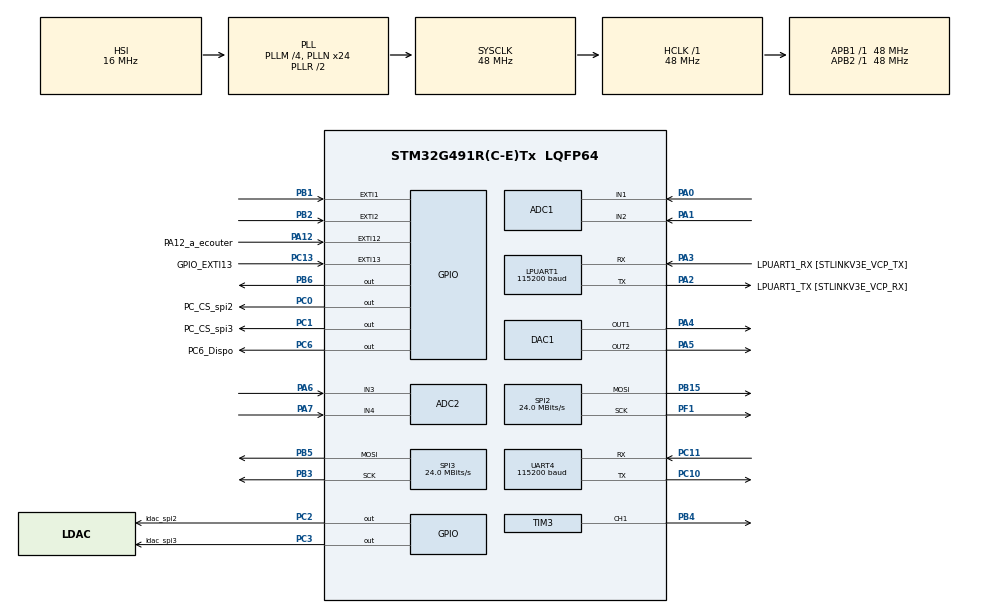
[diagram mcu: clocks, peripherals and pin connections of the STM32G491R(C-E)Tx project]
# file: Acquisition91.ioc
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ADC1.Channel-0\#ChannelRegularConversion=ADC_CHANNEL_1
ADC1.NbrOfConversionFlag=1
ADC1.OffsetNumber-0\#ChannelRegularConversion=ADC_OFFSET_NONE
ADC1.Rank-0\#ChannelRegularConversion=1
ADC1.SamplingTime-0\#ChannelRegularConversion=ADC_SAMPLETIME_2CYCLES_5
ADC1.master=1
ADC2.Channel-0\#ChannelRegularConversion=ADC_CHANNEL_3
ADC2.NbrOfConversionFlag=1
ADC2.OffsetNumber-0\#ChannelRegularConversion=ADC_OFFSET_NONE
ADC2.Rank-0\#ChannelRegularConversion=1
ADC2.SamplingTime-0\#ChannelRegularConversion=ADC_SAMPLETIME_2CYCLES_5
DAC1.DAC_Channel-DAC_OUT2=DAC_CHANNEL_2
DAC1.DAC_SampleAndHold-DAC_OUT1=DAC_SAMPLEANDHOLD_DISABLE
Dma.ADC1.0.Direction=DMA_PERIPH_TO_MEMORY
Dma.ADC1.0.EventEnable=DISABLE
Dma.ADC1.0.Instance=DMA1_Channel1
Dma.ADC1.0.MemDataAlignment=DMA_MDATAALIGN_HALFWORD
Dma.ADC1.0.MemInc=DMA_MINC_ENABLE
Dma.ADC1.0.Mode=DMA_NORMAL
Dma.ADC1.0.PeriphDataAlignment=DMA_PDATAALIGN_HALFWORD
Dma.ADC1.0.PeriphInc=DMA_PINC_DISABLE
Dma.ADC1.0.Polarity=HAL_DMAMUX_REQ_GEN_RISING
Dma.ADC1.0.Priority=DMA_PRIORITY_MEDIUM
Dma.ADC1.0.RequestNumber=1
Dma.ADC1.0.SignalID=NONE
Dma.ADC1.0.SyncEnable=DISABLE
Dma.ADC1.0.SyncPolarity=HAL_DMAMUX_SYNC_NO_EVENT
Dma.ADC1.0.SyncRequestNumber=1
Dma.ADC1.0.SyncSignalID=NONE
Dma.Request0=ADC1
Dma.Request1=UART4_RX
Dma.UART4_RX.1.Direction=DMA_PERIPH_TO_MEMORY
Dma.UART4_RX.1.EventEnable=DISABLE
Dma.UART4_RX.1.Instance=DMA1_Channel2
Dma.UART4_RX.1.MemDataAlignment=DMA_MDATAALIGN_WORD
Dma.UART4_RX.1.MemInc=DMA_MINC_ENABLE
Dma.UART4_RX.1.Mode=DMA_CIRCULAR
Dma.UART4_RX.1.PeriphDataAlignment=DMA_PDATAALIGN_BYTE
Dma.UART4_RX.1.PeriphInc=DMA_PINC_DISABLE
Dma.UART4_RX.1.Polarity=HAL_DMAMUX_REQ_GEN_RISING
Dma.UART4_RX.1.Priority=DMA_PRIORITY_VERY_HIGH
Dma.UART4_RX.1.RequestNumber=1
Dma.UART4_RX.1.SignalID=NONE
Dma.UART4_RX.1.SyncEnable=DISABLE
Dma.UART4_RX.1.SyncPolarity=HAL_DMAMUX_SYNC_NO_EVENT
Dma.UART4_RX.1.SyncRequestNumber=1
Dma.UART4_RX.1.SyncSignalID=NONE
LPUART1.BaudRate=115200
LPUART1.WordLength=UART_WORDLENGTH_8B
Mcu.Family=STM32G4
Mcu.Name=STM32G491R(C-E)Tx
Mcu.Package=LQFP64
NVIC.DMA1_Channel1_IRQn=true\:0\:0\:false\:false\:true\:false\:true\:true
NVIC.DMA1_Channel2_IRQn=true\:0\:0\:false\:false\:true\:false\:true\:true
NVIC.EXTI15_10_IRQn=true\:0\:0\:false\:false\:true\:true\:true\:true
NVIC.EXTI1_IRQn=true\:0\:0\:false\:false\:true\:true\:true\:true
NVIC.EXTI2_IRQn=true\:0\:0\:false\:false\:true\:true\:true\:true
NVIC.PriorityGroup=NVIC_PRIORITYGROUP_4
NVIC.UART4_IRQn=true\:0\:0\:false\:false\:true\:true\:true\:true
PA0.Mode=IN1-Single-Ended
PA0.Signal=ADC1_IN1
PA1.Mode=IN2-Single-Ended
PA1.Signal=ADC1_IN2
PA12.GPIO_Label=PA12_a_ecouter
PA12.GPIO_ModeDefaultEXTI=GPIO_MODE_IT_FALLING
PA12.GPIO_PuPd=GPIO_NOPULL
PA12.Signal=GPXTI12
PA13.GPIO_Label=T_SWDIO
PA13.Mode=Serial_Wire
PA13.Signal=SYS_JTMS-SWDIO
PA14.GPIO_Label=T_SWCLK
PA14.Mode=Serial_Wire
PA14.Signal=SYS_JTCK-SWCLK
PA2.GPIO_Label=LPUART1_TX [STLINKV3E_VCP_RX]
PA2.Mode=Asynchronous
PA2.Signal=LPUART1_TX
PA3.GPIO_Label=LPUART1_RX [STLINKV3E_VCP_TX]
PA3.Mode=Asynchronous
PA3.Signal=LPUART1_RX
PA4.Signal=COMP_DAC11_group
PA5.Signal=COMP_DAC12_group
PA6.Mode=IN3-Single-Ended
PA6.Signal=ADC2_IN3
PA7.Mode=IN4-Single-Ended
PA7.Signal=ADC2_IN4
PB1.Signal=GPXTI1
PB15.Mode=TX_Only_Simplex_Unidirect_Master
PB15.Signal=SPI2_MOSI
PB2.Signal=GPXTI2
PB3.Mode=TX_Only_Simplex_Unidirect_Master
PB3.Signal=SPI3_SCK
PB4.Signal=S_TIM3_CH1
PB5.Mode=TX_Only_Simplex_Unidirect_Master
PB5.Signal=SPI3_MOSI
PB6.Signal=GPIO_Output
PC0.GPIO_Label=PC_CS_spi2
PC0.Signal=GPIO_Output
PC1.GPIO_Label=PC_CS_spi3
PC1.Signal=GPIO_Output
PC10.Mode=Asynchronous
PC10.Signal=UART4_TX
PC11.Mode=Asynchronous
PC11.Signal=UART4_RX
PC13.GPIO_Label=GPIO_EXTI13
PC13.Signal=GPXTI13
PC14-OSC32_IN.Mode=LSE-External-Oscillator
PC14-OSC32_IN.Signal=RCC_OSC32_IN
PC15-OSC32_OUT.Mode=LSE-External-Oscillator
PC15-OSC32_OUT.Signal=RCC_OSC32_OUT
PC2.GPIO_Label=ldac_spi2
PC2.Signal=GPIO_Output
PC3.GPIO_Label=ldac_spi3
PC3.Signal=GPIO_Output
PC6.GPIO_Label=PC6_Dispo
PC6.Signal=GPIO_Output
PF1-OSC_OUT.Mode=TX_Only_Simplex_Unidirect_Master
PF1-OSC_OUT.Signal=SPI2_SCK
ProjectManager.HeapSize=0x200
ProjectManager.StackSize=0x400
ProjectManager.TargetToolchain=STM32CubeIDE
RCC.ADC12Freq_Value=48000000
RCC.ADC345Freq_Value=48000000
RCC.AHBFreq_Value=48000000
RCC.APB1Freq_Value=48000000
RCC.APB1TimFreq_Value=48000000
RCC.APB2Freq_Value=48000000
RCC.APB2TimFreq_Value=48000000
RCC.CortexFreq_Value=48000000
RCC.EXTERNAL_CLOCK_VALUE=12288000
RCC.HCLKFreq_Value=48000000
RCC.HSE_VALUE=24000000
RCC.HSI48_VALUE=48000000
RCC.HSI_VALUE=16000000
RCC.PLLM=RCC_PLLM_DIV4
RCC.PLLN=24
RCC.RTCClockSelection=RCC_RTCCLKSOURCE_LSE
RCC.SYSCLKFreq_VALUE=48000000
RCC.SYSCLKSource=RCC_SYSCLKSOURCE_PLLCLK
RCC.USBFreq_Value=48000000
RCC.VCOOutputFreq_Value=96000000
RTC.Month=RTC_MONTH_AUGUST
RTC.WeekDay=RTC_WEEKDAY_TUESDAY
RTC.Year=23
SH.COMP_DAC11_group.0=DAC1_OUT1,DAC_OUT1
SH.COMP_DAC12_group.0=DAC1_OUT2,DAC_OUT2
SH.S_TIM3_CH1.0=TIM3_CH1,PWM Generation1 CH1
SPI2.CalculateBaudRate=24.0 MBits/s
SPI2.Direction=SPI_DIRECTION_2LINES
SPI2.Mode=SPI_MODE_MASTER
SPI2.VirtualType=VM_MASTER
SPI3.CalculateBaudRate=24.0 MBits/s
SPI3.Direction=SPI_DIRECTION_2LINES
SPI3.Mode=SPI_MODE_MASTER
SPI3.VirtualType=VM_MASTER
TIM3.AutoReloadPreload=TIM_AUTORELOAD_PRELOAD_ENABLE
TIM3.Channel-PWM\ Generation1\ CH1=TIM_CHANNEL_1
TIM3.PeriodNoDither=255
TIM3.PulseNoDither_1=200
UART4.BaudRate=115200
UART4.DMADisableonRxErrorParam=UART_ADVFEATURE_DMA_DISABLEONRXERROR
UART4.FIFOMode=FIFOMODE_ENABLE
UART4.OneBitSampling=UART_ONE_BIT_SAMPLE_ENABLE
UART4.OverSampling=UART_OVERSAMPLING_8
UART4.OverrunDisableParam=UART_ADVFEATURE_OVERRUN_ENABLE
UART4.Parity=PARITY_NONE
UART4.TXFIFOThreshold=TXFIFO_THRESHOLD_1EIGHTHFULL
UART4.WordLength=WORDLENGTH_8B
VP_RTC_VS_RTC_Activate.Mode=RTC_Enabled
VP_RTC_VS_RTC_Calendar.Mode=RTC_Calendar
VP_SYS_VS_DBSignals.Mode=DisableDeadBatterySignals
VP_TIM3_VS_ClockSourceINT.Mode=Internal
board=NUCLEO-G491RE

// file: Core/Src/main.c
/* USER CODE BEGIN Header */
/**
  ******************************************************************************
  * @file           : main.c
  * @brief          : Main program body
  ******************************************************************************
  * @attention
  *
  * Copyright (c) 2023 STMicroelectronics.
  * All rights reserved.
  *
  * This software is licensed under terms that can be found in the LICENSE file
  * in the root directory of this software component.
  * If no LICENSE file comes with this software, it is provided AS-IS.
  *
  ******************************************************************************
  */
/* USER CODE END Header */
#include "main.h"

/* USER CODE BEGIN Includes */
#include <stdio.h>
#include "retarget.h"
/* USER CODE END Includes */

/* USER CODE BEGIN PTD */
#define ETAT_INIT 1
#define ETAT_HEURE 2
#define ETAT_MARCHE 3
#define ETAT_MAJ 4
#define buffer_size 14
#define buffer_sizetx 11
#define bool unsigned int
#define true 1
#define false 0
/* USER CODE END PTD */

ADC_HandleTypeDef hadc1;
ADC_HandleTypeDef hadc2;
DMA_HandleTypeDef hdma_adc1;

DAC_HandleTypeDef hdac1;

UART_HandleTypeDef hlpuart1;
UART_HandleTypeDef huart4;
DMA_HandleTypeDef hdma_uart4_rx;

RTC_HandleTypeDef hrtc;

SPI_HandleTypeDef hspi2;
SPI_HandleTypeDef hspi3;

TIM_HandleTypeDef htim3;

/* USER CODE BEGIN PV */
char etat;
uint8_t message[buffer_size]={'h','e','u','r','e','h','e','u'};
uint8_t messagetx[buffer_sizetx]={ 'O','K','_','h','e','u','r','e'};
int32_t i = 0;
uint8_t state2 = 0;
uint8_t state13 = 0;
char c;
bool msg_received = false;
/* USER CODE END PV */

void SystemClock_Config(void);
static void MX_GPIO_Init(void);
static void MX_DMA_Init(void);
static void MX_LPUART1_UART_Init(void);
static void MX_ADC1_Init(void);
static void MX_SPI2_Init(void);
static void MX_ADC2_Init(void);
static void MX_DAC1_Init(void);
static void MX_SPI3_Init(void);
static void MX_UART4_Init(void);
static void MX_RTC_Init(void);
static void MX_TIM3_Init(void);
/* USER CODE BEGIN PFP */
static void setSPIDACvalue(SPI_HandleTypeDef hspi, uint16_t command);
/* USER CODE END PFP */

int main(void)
{
  /* USER CODE BEGIN 1 */
	uint32_t value_adc = 0;
	uint16_t command[4]={0, 841, 2682, 4060};
	uint16_t DAC_OUT[4] = {0, 841, 1985, 4095};
	etat=ETAT_INIT;
	RTC_TimeTypeDef currTime = {0};

  /* USER CODE END 1 */

  /* MCU Configuration--------------------------------------------------------*/

  /* Reset of all peripherals, Initializes the Flash interface and the Systick. */
  HAL_Init();

  /* Configure the system clock */
  SystemClock_Config();

  /* Initialize all configured peripherals */
  MX_GPIO_Init();
  MX_DMA_Init();
  MX_LPUART1_UART_Init();
  MX_ADC1_Init();
  MX_SPI2_Init();
  MX_ADC2_Init();
  MX_DAC1_Init();
  MX_SPI3_Init();
  MX_UART4_Init();
  MX_RTC_Init();
  MX_TIM3_Init();
  /* USER CODE BEGIN 2 */
  RetargetInit(&hlpuart1);
  printf("\r\n");
  printf("!!!!!!!!!!!!!!!!!!!!!!!!!!!!!!!!!!!!!!!!!!!!!!!!!!!!!!!\r\n");
  printf("Service d'acquisition de la données pour calcul du TMP!\r\n");
  printf("SYSCLK = 48 MHz\r\n");
  printf("Crée par Quentin Lehérissé\r\n");
  printf("!!!!!!!!!!!!!!!!!!!!!!!!!!!!!!!!!!!!!!!!!!!!!!!!!!!!!!!\r\n");
  /* USER CODE END 2 */

  /* Infinite loop */
  /* USER CODE BEGIN WHILE */
  HAL_DAC_Start(&hdac1,DAC_CHANNEL_1);
  HAL_DAC_SetValue(&hdac1, DAC_CHANNEL_1, 0, 1200);
  HAL_DAC_Start(&hdac1,DAC_CHANNEL_2);
  HAL_TIM_PWM_Start(&htim3, TIM_CHANNEL_1);
  HAL_UART_Receive_IT(&huart4, message, 8);
  while (1)
  {

		  switch(etat){

		  case ETAT_INIT:
			  HAL_GPIO_WritePin(GPIOC, PC6_Dispo_Pin, 0);
			  HAL_Delay(100);
			  printf("fin_etat_init\r\n");
			  etat=ETAT_HEURE;
			  break;
		  case ETAT_HEURE:

			  HAL_GPIO_WritePin(GPIOC, PC6_Dispo_Pin, 1);

			  if(msg_received)
			  {

				  printf("\r\n");
				  for(i=0;i<buffer_size;i++)
				  	{
				  		c=message[i];
				  		printf("%c",c);
				  	}
				  unsigned int a=(message[0]-48)*10;
				  unsigned int b=message[1]-48;
				  unsigned int Hour =a+b;
				  a=(message[3]-48)*10;
				  b=message[4]-48;
				  unsigned int Minutes = a+b;
				  a=(message[6]-48)*10;
				  b=message[7]-48;
				  unsigned int Seconds =a+b;
				  currTime.Hours= Hour;
				  currTime.Minutes=Minutes;
				  currTime.Seconds=Seconds;
				  HAL_RTC_SetTime(&hrtc, &currTime, RTC_FORMAT_BIN);
				  HAL_Delay(50);
				  HAL_RTC_GetTime(&hrtc, &currTime, RTC_FORMAT_BIN);
				  printf("\r\n reçu: %d:%d:%d", currTime.Hours, currTime.Minutes, currTime.Seconds);
				  HAL_UART_Transmit(&huart4, &messagetx, buffer_sizetx, HAL_MAX_DELAY);
				  printf("\r\nfin_etat_heure\r\n");
			  	  etat=ETAT_MARCHE;
				  msg_received=0;
			  }

		  	  break;
		  case ETAT_MARCHE:

			  if (state13){
				  HAL_GPIO_WritePin(GPIOC, PC6_Dispo_Pin, 0);
				  /// prend des valeurs de la sonde, fonction it du codeur à agrémenter de la prise de valeur de réflectence.
			  }
			  else{
				  HAL_GPIO_WritePin(GPIOC, PC6_Dispo_Pin, 1);
			  }
			  break;

		  case ETAT_MAJ:
			  break;

		  default:
			  HAL_Delay(1000);
			  printf("No_state_error!\r\n");
			  printf("Go to etat_Init!\r\n");
			  etat=ETAT_INIT;
		  }
    /* USER CODE END WHILE */

  }
}

void SystemClock_Config(void)
{
  RCC_OscInitTypeDef RCC_OscInitStruct = {0};
  RCC_ClkInitTypeDef RCC_ClkInitStruct = {0};

  /** Configure the main internal regulator output voltage
  */
  HAL_PWREx_ControlVoltageScaling(PWR_REGULATOR_VOLTAGE_SCALE1);

  /** Configure LSE Drive Capability
  */
  HAL_PWR_EnableBkUpAccess();
  __HAL_RCC_LSEDRIVE_CONFIG(RCC_LSEDRIVE_LOW);

  /** Initializes the RCC Oscillators according to the specified parameters
  * in the RCC_OscInitTypeDef structure.
  */
  RCC_OscInitStruct.OscillatorType = RCC_OSCILLATORTYPE_HSI|RCC_OSCILLATORTYPE_LSE;
  RCC_OscInitStruct.LSEState = RCC_LSE_ON;
  RCC_OscInitStruct.HSIState = RCC_HSI_ON;
  RCC_OscInitStruct.HSICalibrationValue = RCC_HSICALIBRATION_DEFAULT;
  RCC_OscInitStruct.PLL.PLLState = RCC_PLL_ON;
  RCC_OscInitStruct.PLL.PLLSource = RCC_PLLSOURCE_HSI;
  RCC_OscInitStruct.PLL.PLLM = RCC_PLLM_DIV4;
  RCC_OscInitStruct.PLL.PLLN = 24;
  RCC_OscInitStruct.PLL.PLLP = RCC_PLLP_DIV2;
  RCC_OscInitStruct.PLL.PLLQ = RCC_PLLQ_DIV2;
  RCC_OscInitStruct.PLL.PLLR = RCC_PLLR_DIV2;
  if (HAL_RCC_OscConfig(&RCC_OscInitStruct) != HAL_OK)
  {
    Error_Handler();
  }

  /** Initializes the CPU, AHB and APB buses clocks
  */
  RCC_ClkInitStruct.ClockType = RCC_CLOCKTYPE_HCLK|RCC_CLOCKTYPE_SYSCLK
                              |RCC_CLOCKTYPE_PCLK1|RCC_CLOCKTYPE_PCLK2;
  RCC_ClkInitStruct.SYSCLKSource = RCC_SYSCLKSOURCE_PLLCLK;
  RCC_ClkInitStruct.AHBCLKDivider = RCC_SYSCLK_DIV1;
  RCC_ClkInitStruct.APB1CLKDivider = RCC_HCLK_DIV1;
  RCC_ClkInitStruct.APB2CLKDivider = RCC_HCLK_DIV1;

  if (HAL_RCC_ClockConfig(&RCC_ClkInitStruct, FLASH_LATENCY_1) != HAL_OK)
  {
    Error_Handler();
  }
}

static void MX_ADC1_Init(void)
{

  ADC_MultiModeTypeDef multimode = {0};
  ADC_ChannelConfTypeDef sConfig = {0};

  /** Common config
  */
  hadc1.Instance = ADC1;
  hadc1.Init.ClockPrescaler = ADC_CLOCK_SYNC_PCLK_DIV2;
  hadc1.Init.Resolution = ADC_RESOLUTION_12B;
  hadc1.Init.DataAlign = ADC_DATAALIGN_RIGHT;
  hadc1.Init.GainCompensation = 0;
  hadc1.Init.ScanConvMode = ADC_SCAN_DISABLE;
  hadc1.Init.EOCSelection = ADC_EOC_SINGLE_CONV;
  hadc1.Init.LowPowerAutoWait = DISABLE;
  hadc1.Init.ContinuousConvMode = DISABLE;
  hadc1.Init.NbrOfConversion = 1;
  hadc1.Init.DiscontinuousConvMode = DISABLE;
  hadc1.Init.ExternalTrigConv = ADC_SOFTWARE_START;
  hadc1.Init.ExternalTrigConvEdge = ADC_EXTERNALTRIGCONVEDGE_NONE;
  hadc1.Init.DMAContinuousRequests = DISABLE;
  hadc1.Init.Overrun = ADC_OVR_DATA_PRESERVED;
  hadc1.Init.OversamplingMode = DISABLE;
  if (HAL_ADC_Init(&hadc1) != HAL_OK)
  {
    Error_Handler();
  }

  /** Configure the ADC multi-mode
  */
  multimode.Mode = ADC_MODE_INDEPENDENT;
  if (HAL_ADCEx_MultiModeConfigChannel(&hadc1, &multimode) != HAL_OK)
  {
    Error_Handler();
  }

  /** Configure Regular Channel
  */
  sConfig.Channel = ADC_CHANNEL_1;
  sConfig.Rank = ADC_REGULAR_RANK_1;
  sConfig.SamplingTime = ADC_SAMPLETIME_2CYCLES_5;
  sConfig.SingleDiff = ADC_SINGLE_ENDED;
  sConfig.OffsetNumber = ADC_OFFSET_NONE;
  sConfig.Offset = 0;
  if (HAL_ADC_ConfigChannel(&hadc1, &sConfig) != HAL_OK)
  {
    Error_Handler();
  }

}

static void MX_ADC2_Init(void)
{

  ADC_ChannelConfTypeDef sConfig = {0};

  /** Common config
  */
  hadc2.Instance = ADC2;
  hadc2.Init.ClockPrescaler = ADC_CLOCK_SYNC_PCLK_DIV2;
  hadc2.Init.Resolution = ADC_RESOLUTION_12B;
  hadc2.Init.DataAlign = ADC_DATAALIGN_RIGHT;
  hadc2.Init.GainCompensation = 0;
  hadc2.Init.ScanConvMode = ADC_SCAN_DISABLE;
  hadc2.Init.EOCSelection = ADC_EOC_SINGLE_CONV;
  hadc2.Init.LowPowerAutoWait = DISABLE;
  hadc2.Init.ContinuousConvMode = DISABLE;
  hadc2.Init.NbrOfConversion = 1;
  hadc2.Init.DiscontinuousConvMode = DISABLE;
  hadc2.Init.ExternalTrigConv = ADC_SOFTWARE_START;
  hadc2.Init.ExternalTrigConvEdge = ADC_EXTERNALTRIGCONVEDGE_NONE;
  hadc2.Init.DMAContinuousRequests = DISABLE;
  hadc2.Init.Overrun = ADC_OVR_DATA_PRESERVED;
  hadc2.Init.OversamplingMode = DISABLE;
  if (HAL_ADC_Init(&hadc2) != HAL_OK)
  {
    Error_Handler();
  }

  /** Configure Regular Channel
  */
  sConfig.Channel = ADC_CHANNEL_3;
  sConfig.Rank = ADC_REGULAR_RANK_1;
  sConfig.SamplingTime = ADC_SAMPLETIME_2CYCLES_5;
  sConfig.SingleDiff = ADC_SINGLE_ENDED;
  sConfig.OffsetNumber = ADC_OFFSET_NONE;
  sConfig.Offset = 0;
  if (HAL_ADC_ConfigChannel(&hadc2, &sConfig) != HAL_OK)
  {
    Error_Handler();
  }

}

static void MX_DAC1_Init(void)
{

  DAC_ChannelConfTypeDef sConfig = {0};

  /** DAC Initialization
  */
  hdac1.Instance = DAC1;
  if (HAL_DAC_Init(&hdac1) != HAL_OK)
  {
    Error_Handler();
  }

  /** DAC channel OUT1 config
  */
  sConfig.DAC_HighFrequency = DAC_HIGH_FREQUENCY_INTERFACE_MODE_AUTOMATIC;
  sConfig.DAC_DMADoubleDataMode = DISABLE;
  sConfig.DAC_SignedFormat = DISABLE;
  sConfig.DAC_SampleAndHold = DAC_SAMPLEANDHOLD_DISABLE;
  sConfig.DAC_Trigger = DAC_TRIGGER_NONE;
  sConfig.DAC_Trigger2 = DAC_TRIGGER_NONE;
  sConfig.DAC_OutputBuffer = DAC_OUTPUTBUFFER_ENABLE;
  sConfig.DAC_ConnectOnChipPeripheral = DAC_CHIPCONNECT_EXTERNAL;
  sConfig.DAC_UserTrimming = DAC_TRIMMING_FACTORY;
  if (HAL_DAC_ConfigChannel(&hdac1, &sConfig, DAC_CHANNEL_1) != HAL_OK)
  {
    Error_Handler();
  }

  /** DAC channel OUT2 config
  */
  if (HAL_DAC_ConfigChannel(&hdac1, &sConfig, DAC_CHANNEL_2) != HAL_OK)
  {
    Error_Handler();
  }

}

static void MX_LPUART1_UART_Init(void)
{

  hlpuart1.Instance = LPUART1;
  hlpuart1.Init.BaudRate = 115200;
  hlpuart1.Init.WordLength = UART_WORDLENGTH_8B;
  hlpuart1.Init.StopBits = UART_STOPBITS_1;
  hlpuart1.Init.Parity = UART_PARITY_NONE;
  hlpuart1.Init.Mode = UART_MODE_TX_RX;
  hlpuart1.Init.HwFlowCtl = UART_HWCONTROL_NONE;
  hlpuart1.Init.OneBitSampling = UART_ONE_BIT_SAMPLE_DISABLE;
  hlpuart1.Init.ClockPrescaler = UART_PRESCALER_DIV1;
  hlpuart1.AdvancedInit.AdvFeatureInit = UART_ADVFEATURE_NO_INIT;
  if (HAL_UART_Init(&hlpuart1) != HAL_OK)
  {
    Error_Handler();
  }
  if (HAL_UARTEx_SetTxFifoThreshold(&hlpuart1, UART_TXFIFO_THRESHOLD_1_8) != HAL_OK)
  {
    Error_Handler();
  }
  if (HAL_UARTEx_SetRxFifoThreshold(&hlpuart1, UART_RXFIFO_THRESHOLD_1_8) != HAL_OK)
  {
    Error_Handler();
  }
  if (HAL_UARTEx_DisableFifoMode(&hlpuart1) != HAL_OK)
  {
    Error_Handler();
  }

}

static void MX_UART4_Init(void)
{

  huart4.Instance = UART4;
  huart4.Init.BaudRate = 115200;
  huart4.Init.WordLength = UART_WORDLENGTH_8B;
  huart4.Init.StopBits = UART_STOPBITS_1;
  huart4.Init.Parity = UART_PARITY_NONE;
  huart4.Init.Mode = UART_MODE_TX_RX;
  huart4.Init.HwFlowCtl = UART_HWCONTROL_NONE;
  huart4.Init.OverSampling = UART_OVERSAMPLING_8;
  huart4.Init.OneBitSampling = UART_ONE_BIT_SAMPLE_ENABLE;
  huart4.Init.ClockPrescaler = UART_PRESCALER_DIV1;
  huart4.AdvancedInit.AdvFeatureInit = UART_ADVFEATURE_DMADISABLEONERROR_INIT;
  huart4.AdvancedInit.DMADisableonRxError = UART_ADVFEATURE_DMA_DISABLEONRXERROR;
  if (HAL_UART_Init(&huart4) != HAL_OK)
  {
    Error_Handler();
  }
  if (HAL_UARTEx_SetTxFifoThreshold(&huart4, UART_TXFIFO_THRESHOLD_1_8) != HAL_OK)
  {
    Error_Handler();
  }
  if (HAL_UARTEx_SetRxFifoThreshold(&huart4, UART_RXFIFO_THRESHOLD_1_8) != HAL_OK)
  {
    Error_Handler();
  }
  if (HAL_UARTEx_EnableFifoMode(&huart4) != HAL_OK)
  {
    Error_Handler();
  }

}

static void MX_RTC_Init(void)
{

  RTC_TimeTypeDef sTime = {0};
  RTC_DateTypeDef sDate = {0};

  /** Initialize RTC Only
  */
  hrtc.Instance = RTC;
  hrtc.Init.HourFormat = RTC_HOURFORMAT_24;
  hrtc.Init.AsynchPrediv = 127;
  hrtc.Init.SynchPrediv = 255;
  hrtc.Init.OutPut = RTC_OUTPUT_DISABLE;
  hrtc.Init.OutPutRemap = RTC_OUTPUT_REMAP_NONE;
  hrtc.Init.OutPutPolarity = RTC_OUTPUT_POLARITY_HIGH;
  hrtc.Init.OutPutType = RTC_OUTPUT_TYPE_OPENDRAIN;
  hrtc.Init.OutPutPullUp = RTC_OUTPUT_PULLUP_NONE;
  if (HAL_RTC_Init(&hrtc) != HAL_OK)
  {
    Error_Handler();
  }

  /** Initialize RTC and set the Time and Date
  */
  sTime.Hours = 0x0;
  sTime.Minutes = 0x0;
  sTime.Seconds = 0x0;
  sTime.SubSeconds = 0x0;
  sTime.DayLightSaving = RTC_DAYLIGHTSAVING_NONE;
  sTime.StoreOperation = RTC_STOREOPERATION_RESET;
  if (HAL_RTC_SetTime(&hrtc, &sTime, RTC_FORMAT_BCD) != HAL_OK)
  {
    Error_Handler();
  }
  sDate.WeekDay = RTC_WEEKDAY_TUESDAY;
  sDate.Month = RTC_MONTH_AUGUST;
  sDate.Date = 0x1;
  sDate.Year = 0x23;

  if (HAL_RTC_SetDate(&hrtc, &sDate, RTC_FORMAT_BCD) != HAL_OK)
  {
    Error_Handler();
  }

}

static void MX_SPI2_Init(void)
{

  /* SPI2 parameter configuration*/
  hspi2.Instance = SPI2;
  hspi2.Init.Mode = SPI_MODE_MASTER;
  hspi2.Init.Direction = SPI_DIRECTION_2LINES;
  hspi2.Init.DataSize = SPI_DATASIZE_8BIT;
  hspi2.Init.CLKPolarity = SPI_POLARITY_LOW;
  hspi2.Init.CLKPhase = SPI_PHASE_1EDGE;
  hspi2.Init.NSS = SPI_NSS_SOFT;
  hspi2.Init.BaudRatePrescaler = SPI_BAUDRATEPRESCALER_2;
  hspi2.Init.FirstBit = SPI_FIRSTBIT_MSB;
  hspi2.Init.TIMode = SPI_TIMODE_DISABLE;
  hspi2.Init.CRCCalculation = SPI_CRCCALCULATION_DISABLE;
  hspi2.Init.CRCPolynomial = 7;
  hspi2.Init.CRCLength = SPI_CRC_LENGTH_DATASIZE;
  hspi2.Init.NSSPMode = SPI_NSS_PULSE_ENABLE;
  if (HAL_SPI_Init(&hspi2) != HAL_OK)
  {
    Error_Handler();
  }

}

static void MX_SPI3_Init(void)
{

  /* SPI3 parameter configuration*/
  hspi3.Instance = SPI3;
  hspi3.Init.Mode = SPI_MODE_MASTER;
  hspi3.Init.Direction = SPI_DIRECTION_2LINES;
  hspi3.Init.DataSize = SPI_DATASIZE_8BIT;
  hspi3.Init.CLKPolarity = SPI_POLARITY_LOW;
  hspi3.Init.CLKPhase = SPI_PHASE_1EDGE;
  hspi3.Init.NSS = SPI_NSS_SOFT;
  hspi3.Init.BaudRatePrescaler = SPI_BAUDRATEPRESCALER_2;
  hspi3.Init.FirstBit = SPI_FIRSTBIT_MSB;
  hspi3.Init.TIMode = SPI_TIMODE_DISABLE;
  hspi3.Init.CRCCalculation = SPI_CRCCALCULATION_DISABLE;
  hspi3.Init.CRCPolynomial = 7;
  hspi3.Init.CRCLength = SPI_CRC_LENGTH_DATASIZE;
  hspi3.Init.NSSPMode = SPI_NSS_PULSE_ENABLE;
  if (HAL_SPI_Init(&hspi3) != HAL_OK)
  {
    Error_Handler();
  }

}

static void MX_TIM3_Init(void)
{

  TIM_ClockConfigTypeDef sClockSourceConfig = {0};
  TIM_MasterConfigTypeDef sMasterConfig = {0};
  TIM_OC_InitTypeDef sConfigOC = {0};

  htim3.Instance = TIM3;
  htim3.Init.Prescaler = 0;
  htim3.Init.CounterMode = TIM_COUNTERMODE_UP;
  htim3.Init.Period = 255;
  htim3.Init.ClockDivision = TIM_CLOCKDIVISION_DIV1;
  htim3.Init.AutoReloadPreload = TIM_AUTORELOAD_PRELOAD_ENABLE;
  if (HAL_TIM_Base_Init(&htim3) != HAL_OK)
  {
    Error_Handler();
  }
  sClockSourceConfig.ClockSource = TIM_CLOCKSOURCE_INTERNAL;
  if (HAL_TIM_ConfigClockSource(&htim3, &sClockSourceConfig) != HAL_OK)
  {
    Error_Handler();
  }
  if (HAL_TIM_PWM_Init(&htim3) != HAL_OK)
  {
    Error_Handler();
  }
  sMasterConfig.MasterOutputTrigger = TIM_TRGO_RESET;
  sMasterConfig.MasterSlaveMode = TIM_MASTERSLAVEMODE_DISABLE;
  if (HAL_TIMEx_MasterConfigSynchronization(&htim3, &sMasterConfig) != HAL_OK)
  {
    Error_Handler();
  }
  sConfigOC.OCMode = TIM_OCMODE_PWM1;
  sConfigOC.Pulse = 200;
  sConfigOC.OCPolarity = TIM_OCPOLARITY_HIGH;
  sConfigOC.OCFastMode = TIM_OCFAST_DISABLE;
  if (HAL_TIM_PWM_ConfigChannel(&htim3, &sConfigOC, TIM_CHANNEL_1) != HAL_OK)
  {
    Error_Handler();
  }
  HAL_TIM_MspPostInit(&htim3);

}

static void MX_DMA_Init(void)
{

  /* DMA controller clock enable */
  __HAL_RCC_DMAMUX1_CLK_ENABLE();
  __HAL_RCC_DMA1_CLK_ENABLE();

  /* DMA interrupt init */
  /* DMA1_Channel1_IRQn interrupt configuration */
  HAL_NVIC_SetPriority(DMA1_Channel1_IRQn, 0, 0);
  HAL_NVIC_EnableIRQ(DMA1_Channel1_IRQn);
  /* DMA1_Channel2_IRQn interrupt configuration */
  HAL_NVIC_SetPriority(DMA1_Channel2_IRQn, 0, 0);
  HAL_NVIC_EnableIRQ(DMA1_Channel2_IRQn);

}

static void MX_GPIO_Init(void)
{
  GPIO_InitTypeDef GPIO_InitStruct = {0};

  /* GPIO Ports Clock Enable */
  __HAL_RCC_GPIOC_CLK_ENABLE();
  __HAL_RCC_GPIOF_CLK_ENABLE();
  __HAL_RCC_GPIOA_CLK_ENABLE();
  __HAL_RCC_GPIOB_CLK_ENABLE();

  /*Configure GPIO pin Output Level */
  HAL_GPIO_WritePin(GPIOC, PC_CS_spi2_Pin|PC_CS_spi3_Pin|ldac_spi2_Pin|ldac_spi3_Pin
                          |PC6_Dispo_Pin, GPIO_PIN_RESET);

  /*Configure GPIO pin Output Level */
  HAL_GPIO_WritePin(GPIOB, GPIO_PIN_6, GPIO_PIN_RESET);

  /*Configure GPIO pin : GPIO_EXTI13_Pin */
  GPIO_InitStruct.Pin = GPIO_EXTI13_Pin;
  GPIO_InitStruct.Mode = GPIO_MODE_IT_RISING;
  GPIO_InitStruct.Pull = GPIO_NOPULL;
  HAL_GPIO_Init(GPIO_EXTI13_GPIO_Port, &GPIO_InitStruct);

  /*Configure GPIO pins : PC_CS_spi2_Pin PC_CS_spi3_Pin ldac_spi2_Pin ldac_spi3_Pin
                           PC6_Dispo_Pin */
  GPIO_InitStruct.Pin = PC_CS_spi2_Pin|PC_CS_spi3_Pin|ldac_spi2_Pin|ldac_spi3_Pin
                          |PC6_Dispo_Pin;
  GPIO_InitStruct.Mode = GPIO_MODE_OUTPUT_PP;
  GPIO_InitStruct.Pull = GPIO_NOPULL;
  GPIO_InitStruct.Speed = GPIO_SPEED_FREQ_LOW;
  HAL_GPIO_Init(GPIOC, &GPIO_InitStruct);

  /*Configure GPIO pins : PB1 PB2 */
  GPIO_InitStruct.Pin = GPIO_PIN_1|GPIO_PIN_2;
  GPIO_InitStruct.Mode = GPIO_MODE_IT_RISING;
  GPIO_InitStruct.Pull = GPIO_NOPULL;
  HAL_GPIO_Init(GPIOB, &GPIO_InitStruct);

  /*Configure GPIO pin : PA12_a_ecouter_Pin */
  GPIO_InitStruct.Pin = PA12_a_ecouter_Pin;
  GPIO_InitStruct.Mode = GPIO_MODE_IT_FALLING;
  GPIO_InitStruct.Pull = GPIO_NOPULL;
  HAL_GPIO_Init(PA12_a_ecouter_GPIO_Port, &GPIO_InitStruct);

  /*Configure GPIO pin : PB6 */
  GPIO_InitStruct.Pin = GPIO_PIN_6;
  GPIO_InitStruct.Mode = GPIO_MODE_OUTPUT_PP;
  GPIO_InitStruct.Pull = GPIO_NOPULL;
  GPIO_InitStruct.Speed = GPIO_SPEED_FREQ_LOW;
  HAL_GPIO_Init(GPIOB, &GPIO_InitStruct);

  /* EXTI interrupt init*/
  HAL_NVIC_SetPriority(EXTI1_IRQn, 0, 0);
  HAL_NVIC_EnableIRQ(EXTI1_IRQn);

  HAL_NVIC_SetPriority(EXTI2_IRQn, 0, 0);
  HAL_NVIC_EnableIRQ(EXTI2_IRQn);

  HAL_NVIC_SetPriority(EXTI15_10_IRQn, 0, 0);
  HAL_NVIC_EnableIRQ(EXTI15_10_IRQn);

}

/* USER CODE BEGIN 4 */
void HAL_GPIO_EXTI_Callback(uint16_t GPIO_Pin)
{
	if (GPIO_Pin==PA12_a_ecouter_Pin)
	{
		HAL_UART_Receive(&huart4, &message, buffer_size, HAL_MAX_DELAY);
		msg_received=1;
	}
}

void HAL_UART_RxCpltCallback(UART_HandleTypeDef *huart)
{
	msg_received=1;
	printf("msg_sended");

}

void HAL_UART_ErrorCallback(UART_HandleTypeDef *huart)
{
	if(huart==&huart4){printf("error uart4");}
}
/* USER CODE END 4 */

void Error_Handler(void)
{
  __disable_irq();
  while (1)
  {
  }
}
